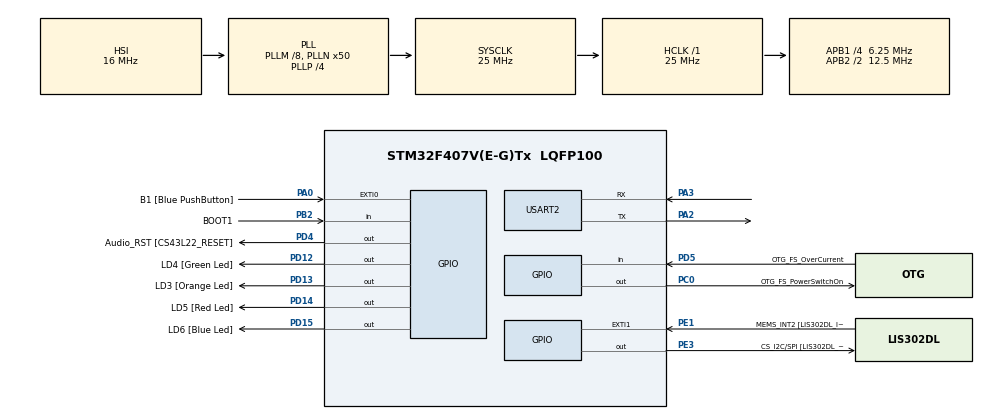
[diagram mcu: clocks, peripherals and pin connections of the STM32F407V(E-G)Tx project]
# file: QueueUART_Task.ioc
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Mcu.Family=STM32F4
Mcu.Name=STM32F407V(E-G)Tx
Mcu.Package=LQFP100
NVIC.PriorityGroup=NVIC_PRIORITYGROUP_4
NVIC.TIM6_DAC_IRQn=true\:0\:0\:false\:false\:true\:false\:true\:true
NVIC.TimeBase=TIM6_DAC_IRQn
NVIC.TimeBaseIP=TIM6
NVIC.USART2_IRQn=true\:6\:0\:true\:false\:true\:true\:true\:true
PA0-WKUP.GPIO_Label=B1 [Blue PushButton]
PA0-WKUP.Signal=GPXTI0
PA10.GPIO_Label=OTG_FS_ID
PA10.GPIO_Mode=GPIO_MODE_AF_PP
PA10.GPIO_PuPd=GPIO_NOPULL
PA10.GPIO_Speed=GPIO_SPEED_FREQ_LOW
PA10.Signal=USB_OTG_FS_ID
PA11.GPIO_Label=OTG_FS_DM
PA11.GPIO_Mode=GPIO_MODE_AF_PP
PA11.GPIO_PuPd=GPIO_NOPULL
PA11.GPIO_Speed=GPIO_SPEED_FREQ_LOW
PA11.Signal=USB_OTG_FS_DM
PA12.GPIO_Label=OTG_FS_DP
PA12.GPIO_Mode=GPIO_MODE_AF_PP
PA12.GPIO_PuPd=GPIO_NOPULL
PA12.GPIO_Speed=GPIO_SPEED_FREQ_LOW
PA12.Signal=USB_OTG_FS_DP
PA13.GPIO_Label=SWDIO
PA13.Signal=SYS_JTMS-SWDIO
PA14.GPIO_Label=SWCLK
PA14.Signal=SYS_JTCK-SWCLK
PA2.Mode=Asynchronous
PA2.Signal=USART2_TX
PA3.Mode=Asynchronous
PA3.Signal=USART2_RX
PA4.GPIO_Label=I2S3_WS [CS43L22_LRCK]
PA4.GPIO_Mode=GPIO_MODE_AF_PP
PA4.GPIO_PuPd=GPIO_NOPULL
PA4.GPIO_Speed=GPIO_SPEED_FREQ_LOW
PA4.Signal=I2S3_WS
PA5.GPIO_Label=SPI1_SCK [LIS302DL_SCL/SPC]
PA5.GPIO_Mode=GPIO_MODE_AF_PP
PA5.GPIO_PuPd=GPIO_NOPULL
PA5.GPIO_Speed=GPIO_SPEED_FREQ_LOW
PA5.Signal=SPI1_SCK
PA6.GPIO_Label=SPI1_MISO [LIS302DL_SDO]
PA6.GPIO_Mode=GPIO_MODE_AF_PP
PA6.GPIO_PuPd=GPIO_NOPULL
PA6.GPIO_Speed=GPIO_SPEED_FREQ_LOW
PA6.Signal=SPI1_MISO
PA7.GPIO_Label=SPI1_MOSI [LIS302DL_SDA/SDI/SDO]
PA7.GPIO_Mode=GPIO_MODE_AF_PP
PA7.GPIO_PuPd=GPIO_NOPULL
PA7.GPIO_Speed=GPIO_SPEED_FREQ_LOW
PA7.Signal=SPI1_MOSI
PA9.GPIO_Label=VBUS_FS
PA9.GPIO_Mode=GPIO_MODE_INPUT
PA9.GPIO_PuPd=GPIO_NOPULL
PA9.Signal=USB_OTG_FS_VBUS
PB10.GPIO_Label=CLK_IN [MP45DT02_CLK]
PB10.GPIO_Mode=GPIO_MODE_AF_PP
PB10.GPIO_PuPd=GPIO_NOPULL
PB10.GPIO_Speed=GPIO_SPEED_FREQ_LOW
PB10.Signal=I2S2_CK
PB2.GPIO_Label=BOOT1
PB2.GPIO_Mode=GPIO_MODE_INPUT
PB2.GPIO_PuPd=GPIO_NOPULL
PB2.Signal=GPIO_Input
PB3.GPIO_Label=SWO
PB3.Signal=SYS_JTDO-SWO
PB6.GPIO_Label=Audio_SCL [CS43L22_SCL]
PB6.GPIO_Mode=GPIO_MODE_AF_OD
PB6.GPIO_PuPd=GPIO_NOPULL
PB6.GPIO_Speed=GPIO_SPEED_FREQ_LOW
PB6.Signal=I2C1_SCL
PB9.GPIO_Label=Audio_SDA [CS43L22_SDA]
PB9.GPIO_Mode=GPIO_MODE_AF_OD
PB9.GPIO_PuPd=GPIO_NOPULL
PB9.GPIO_Speed=GPIO_SPEED_FREQ_LOW
PB9.Signal=I2C1_SDA
PC0.GPIO_Label=OTG_FS_PowerSwitchOn
PC0.GPIO_PuPd=GPIO_NOPULL
PC0.GPIO_Speed=GPIO_SPEED_FREQ_LOW
PC0.PinState=GPIO_PIN_SET
PC0.Signal=GPIO_Output
PC10.GPIO_Label=I2S3_SCK [CS43L22_SCLK]
PC10.GPIO_Mode=GPIO_MODE_AF_PP
PC10.GPIO_PuPd=GPIO_NOPULL
PC10.GPIO_Speed=GPIO_SPEED_FREQ_LOW
PC10.Signal=I2S3_CK
PC12.GPIO_Label=I2S3_SD [CS43L22_SDIN]
PC12.GPIO_Mode=GPIO_MODE_AF_PP
PC12.GPIO_PuPd=GPIO_NOPULL
PC12.GPIO_Speed=GPIO_SPEED_FREQ_LOW
PC12.Signal=I2S3_SD
PC14-OSC32_IN.GPIO_Label=PC14-OSC32_IN
PC14-OSC32_IN.Signal=RCC_OSC32_IN
PC15-OSC32_OUT.GPIO_Label=PC15-OSC32_OUT
PC15-OSC32_OUT.Signal=RCC_OSC32_OUT
PC3.GPIO_Label=PDM_OUT [MP45DT02_DOUT]
PC3.GPIO_Mode=GPIO_MODE_AF_PP
PC3.GPIO_PuPd=GPIO_NOPULL
PC3.GPIO_Speed=GPIO_SPEED_FREQ_LOW
PC3.Signal=I2S2_SD
PC7.GPIO_Label=I2S3_MCK [CS43L22_MCLK]
PC7.GPIO_Mode=GPIO_MODE_AF_PP
PC7.GPIO_PuPd=GPIO_NOPULL
PC7.GPIO_Speed=GPIO_SPEED_FREQ_LOW
PC7.Signal=I2S3_MCK
PD12.GPIO_Label=LD4 [Green Led]
PD12.GPIO_PuPd=GPIO_NOPULL
PD12.GPIO_Speed=GPIO_SPEED_FREQ_LOW
PD12.Signal=GPIO_Output
PD13.GPIO_Label=LD3 [Orange Led]
PD13.GPIO_PuPd=GPIO_NOPULL
PD13.GPIO_Speed=GPIO_SPEED_FREQ_LOW
PD13.Signal=GPIO_Output
PD14.GPIO_Label=LD5 [Red Led]
PD14.GPIO_PuPd=GPIO_NOPULL
PD14.GPIO_Speed=GPIO_SPEED_FREQ_LOW
PD14.Signal=GPIO_Output
PD15.GPIO_Label=LD6 [Blue Led]
PD15.GPIO_PuPd=GPIO_NOPULL
PD15.GPIO_Speed=GPIO_SPEED_FREQ_LOW
PD15.Signal=GPIO_Output
PD4.GPIO_Label=Audio_RST [CS43L22_RESET]
PD4.GPIO_PuPd=GPIO_NOPULL
PD4.GPIO_Speed=GPIO_SPEED_FREQ_LOW
PD4.Signal=GPIO_Output
PD5.GPIO_Label=OTG_FS_OverCurrent
PD5.GPIO_Mode=GPIO_MODE_INPUT
PD5.GPIO_PuPd=GPIO_NOPULL
PD5.Signal=GPIO_Input
PE1.GPIO_Label=MEMS_INT2 [LIS302DL_INT2]
PE1.GPIO_ModeDefaultEXTI=GPIO_MODE_EVT_RISING
PE1.GPIO_PuPd=GPIO_NOPULL
PE1.Signal=GPXTI1
PE3.GPIO_Label=CS_I2C/SPI [LIS302DL_CS_I2C/SPI]
PE3.GPIO_PuPd=GPIO_NOPULL
PE3.GPIO_Speed=GPIO_SPEED_FREQ_LOW
PE3.Signal=GPIO_Output
PH0-OSC_IN.GPIO_Label=PH0-OSC_IN
PH0-OSC_IN.Signal=RCC_OSC_IN
PH1-OSC_OUT.GPIO_Label=PH1-OSC_OUT
PH1-OSC_OUT.Signal=RCC_OSC_OUT
ProjectManager.HeapSize=0x200
ProjectManager.StackSize=0x400
ProjectManager.TargetToolchain=STM32CubeIDE
RCC.48MHZClocksFreq_Value=14285714.285714285
RCC.AHBFreq_Value=25000000
RCC.APB1CLKDivider=RCC_HCLK_DIV4
RCC.APB1Freq_Value=6250000
RCC.APB1TimFreq_Value=12500000
RCC.APB2CLKDivider=RCC_HCLK_DIV2
RCC.APB2Freq_Value=12500000
RCC.APB2TimFreq_Value=25000000
RCC.CortexFreq_Value=25000000
RCC.HCLKFreq_Value=25000000
RCC.HSE_VALUE=8000000
RCC.HSI_VALUE=16000000
RCC.LSE_VALUE=32768
RCC.PLLM=8
RCC.PLLN=50
RCC.PLLP=RCC_PLLP_DIV4
RCC.PLLQ=7
RCC.SYSCLKFreq_VALUE=25000000
RCC.SYSCLKSource=RCC_SYSCLKSOURCE_PLLCLK
RCC.VCOOutputFreq_Value=100000000
RTC.HourFormat=RTC_HOURFORMAT_12
USART2.VirtualMode=VM_ASYNC
VP_RTC_VS_RTC_Activate.Mode=RTC_Enabled
VP_SYS_VS_tim6.Mode=TIM6
board=STM32F407G-DISC1

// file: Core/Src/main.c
/* USER CODE BEGIN Header */
/**
  ******************************************************************************
  * @file           : main.c
  * @brief          : Main program body
  ******************************************************************************
  * @attention
  *
  * Copyright (c) 2026 STMicroelectronics.
  * All rights reserved.
  *
  * This software is licensed under terms that can be found in the LICENSE file
  * in the root directory of this software component.
  * If no LICENSE file comes with this software, it is provided AS-IS.
  *
  ******************************************************************************
  */
/* USER CODE END Header */
#include "main.h"

/* USER CODE BEGIN Includes */
#include "FreeRTOS.h"
#include "task.h"
#include <stdio.h>
/* USER CODE END Includes */

/* USER CODE BEGIN PD */
#define DWT_CTRL (*(volatile uint32_t*)0xE0001000)
/* USER CODE END PD */

RTC_HandleTypeDef hrtc;

UART_HandleTypeDef huart2;

/* USER CODE BEGIN PV */
xTaskHandle handle_menu_task;
xTaskHandle handle_cmd_task;
xTaskHandle handle_print_task;
xTaskHandle handle_led_task;
xTaskHandle handle_rtc_task;

//Software timers handles
TimerHandle_t handle_led_timer[4];
RTC_HandleTypeDef hrtc;

QueueHandle_t queue_data;
QueueHandle_t queue_print;
state_t current_state = sMainMenu;
volatile uint8_t user_data;
/* USER CODE END PV */

void SystemClock_Config(void);
static void MX_GPIO_Init(void);
static void MX_RTC_Init(void);
static void MX_USART2_UART_Init(void);

int main(void)
{

  /* USER CODE BEGIN 1 */
  BaseType_t status;
  /* USER CODE END 1 */

  /* MCU Configuration--------------------------------------------------------*/

  /* Reset of all peripherals, Initializes the Flash interface and the Systick. */
  HAL_Init();

  /* Configure the system clock */
  SystemClock_Config();

  /* Initialize all configured peripherals */
  MX_GPIO_Init();
  MX_RTC_Init();
  MX_USART2_UART_Init();
  /* USER CODE BEGIN 2 */

  DWT_CTRL |= (1 << 0);

  status = xTaskCreate(menu_task, "menu", 250, NULL, 2, &handle_menu_task);
  configASSERT(status == pdPASS);

  status = xTaskCreate(cmd_handler_task, "cmd", 250, NULL, 2, &handle_cmd_task);
  configASSERT(status == pdPASS);

  status = xTaskCreate(print_task, "print", 250, NULL, 2, &handle_print_task);
  configASSERT(status == pdPASS);

  status = xTaskCreate(led_task, "led", 250, NULL, 2, &handle_led_task);
  configASSERT(status == pdPASS);

  status = xTaskCreate(rtc_task, "rtc", 250, NULL, 2, &handle_rtc_task);
  configASSERT(status == pdPASS);

  //Create the Queue; Here the queue handle should not be NULL if it's null that means no queue is created.
  queue_data = xQueueCreate( 10,sizeof(char));
  configASSERT( queue_data != NULL);
  //size_t is the size of pointer because we pass pointer to the queue in print queue. size_t is defined as long unsigned int.
  queue_print = xQueueCreate( 10,sizeof(size_t));
  configASSERT( queue_print != NULL);

  //Create software timer for led effects.
  for(int i = 0; i <4 ; i++)
  {
	  handle_led_timer[i] = xTimerCreate("Timer", pdMS_TO_TICKS(500), pdTRUE, (void *)(i+1), led_effect_callback);
  }

  //Enable or prepares UART receive Interrupt
  HAL_UART_Receive_IT(&huart2, (uint8_t*)&user_data, 1);

  //Start the scheduler
  vTaskStartScheduler();

  /* USER CODE END 2 */

  /* Infinite loop */
  while (1)
  {

  }
}

void SystemClock_Config(void)
{
  RCC_OscInitTypeDef RCC_OscInitStruct = {0};
  RCC_ClkInitTypeDef RCC_ClkInitStruct = {0};

  /** Configure the main internal regulator output voltage
  */
  __HAL_RCC_PWR_CLK_ENABLE();
  __HAL_PWR_VOLTAGESCALING_CONFIG(PWR_REGULATOR_VOLTAGE_SCALE1);

  /** Initializes the RCC Oscillators according to the specified parameters
  * in the RCC_OscInitTypeDef structure.
  */
  RCC_OscInitStruct.OscillatorType = RCC_OSCILLATORTYPE_HSI|RCC_OSCILLATORTYPE_LSI;
  RCC_OscInitStruct.HSIState = RCC_HSI_ON;
  RCC_OscInitStruct.HSICalibrationValue = RCC_HSICALIBRATION_DEFAULT;
  RCC_OscInitStruct.LSIState = RCC_LSI_ON;
  RCC_OscInitStruct.PLL.PLLState = RCC_PLL_ON;
  RCC_OscInitStruct.PLL.PLLSource = RCC_PLLSOURCE_HSI;
  RCC_OscInitStruct.PLL.PLLM = 8;
  RCC_OscInitStruct.PLL.PLLN = 50;
  RCC_OscInitStruct.PLL.PLLP = RCC_PLLP_DIV4;
  RCC_OscInitStruct.PLL.PLLQ = 7;
  if (HAL_RCC_OscConfig(&RCC_OscInitStruct) != HAL_OK)
  {
    Error_Handler();
  }

  /** Initializes the CPU, AHB and APB buses clocks
  */
  RCC_ClkInitStruct.ClockType = RCC_CLOCKTYPE_HCLK|RCC_CLOCKTYPE_SYSCLK
                              |RCC_CLOCKTYPE_PCLK1|RCC_CLOCKTYPE_PCLK2;
  RCC_ClkInitStruct.SYSCLKSource = RCC_SYSCLKSOURCE_PLLCLK;
  RCC_ClkInitStruct.AHBCLKDivider = RCC_SYSCLK_DIV1;
  RCC_ClkInitStruct.APB1CLKDivider = RCC_HCLK_DIV4;
  RCC_ClkInitStruct.APB2CLKDivider = RCC_HCLK_DIV2;

  if (HAL_RCC_ClockConfig(&RCC_ClkInitStruct, FLASH_LATENCY_0) != HAL_OK)
  {
    Error_Handler();
  }
}

static void MX_RTC_Init(void)
{

  /** Initialize RTC Only
  */
  hrtc.Instance = RTC;
  hrtc.Init.HourFormat = RTC_HOURFORMAT_12;
  hrtc.Init.AsynchPrediv = 127;
  hrtc.Init.SynchPrediv = 255;
  hrtc.Init.OutPut = RTC_OUTPUT_DISABLE;
  hrtc.Init.OutPutPolarity = RTC_OUTPUT_POLARITY_HIGH;
  hrtc.Init.OutPutType = RTC_OUTPUT_TYPE_OPENDRAIN;
  if (HAL_RTC_Init(&hrtc) != HAL_OK)
  {
    Error_Handler();
  }

}

static void MX_USART2_UART_Init(void)
{

  huart2.Instance = USART2;
  huart2.Init.BaudRate = 115200;
  huart2.Init.WordLength = UART_WORDLENGTH_8B;
  huart2.Init.StopBits = UART_STOPBITS_1;
  huart2.Init.Parity = UART_PARITY_NONE;
  huart2.Init.Mode = UART_MODE_TX_RX;
  huart2.Init.HwFlowCtl = UART_HWCONTROL_NONE;
  huart2.Init.OverSampling = UART_OVERSAMPLING_16;
  if (HAL_UART_Init(&huart2) != HAL_OK)
  {
    Error_Handler();
  }

}

static void MX_GPIO_Init(void)
{
  GPIO_InitTypeDef GPIO_InitStruct = {0};

  /* GPIO Ports Clock Enable */
  __HAL_RCC_GPIOE_CLK_ENABLE();
  __HAL_RCC_GPIOC_CLK_ENABLE();
  __HAL_RCC_GPIOH_CLK_ENABLE();
  __HAL_RCC_GPIOA_CLK_ENABLE();
  __HAL_RCC_GPIOB_CLK_ENABLE();
  __HAL_RCC_GPIOD_CLK_ENABLE();

  /*Configure GPIO pin Output Level */
  HAL_GPIO_WritePin(CS_I2C_SPI_GPIO_Port, CS_I2C_SPI_Pin, GPIO_PIN_RESET);

  /*Configure GPIO pin Output Level */
  HAL_GPIO_WritePin(OTG_FS_PowerSwitchOn_GPIO_Port, OTG_FS_PowerSwitchOn_Pin, GPIO_PIN_SET);

  /*Configure GPIO pin Output Level */
  HAL_GPIO_WritePin(GPIOD, LD4_Pin|LD3_Pin|LD5_Pin|LD6_Pin
                          |Audio_RST_Pin, GPIO_PIN_RESET);

  /*Configure GPIO pin : CS_I2C_SPI_Pin */
  GPIO_InitStruct.Pin = CS_I2C_SPI_Pin;
  GPIO_InitStruct.Mode = GPIO_MODE_OUTPUT_PP;
  GPIO_InitStruct.Pull = GPIO_NOPULL;
  GPIO_InitStruct.Speed = GPIO_SPEED_FREQ_LOW;
  HAL_GPIO_Init(CS_I2C_SPI_GPIO_Port, &GPIO_InitStruct);

  /*Configure GPIO pin : OTG_FS_PowerSwitchOn_Pin */
  GPIO_InitStruct.Pin = OTG_FS_PowerSwitchOn_Pin;
  GPIO_InitStruct.Mode = GPIO_MODE_OUTPUT_PP;
  GPIO_InitStruct.Pull = GPIO_NOPULL;
  GPIO_InitStruct.Speed = GPIO_SPEED_FREQ_LOW;
  HAL_GPIO_Init(OTG_FS_PowerSwitchOn_GPIO_Port, &GPIO_InitStruct);

  /*Configure GPIO pin : PDM_OUT_Pin */
  GPIO_InitStruct.Pin = PDM_OUT_Pin;
  GPIO_InitStruct.Mode = GPIO_MODE_AF_PP;
  GPIO_InitStruct.Pull = GPIO_NOPULL;
  GPIO_InitStruct.Speed = GPIO_SPEED_FREQ_LOW;
  GPIO_InitStruct.Alternate = GPIO_AF5_SPI2;
  HAL_GPIO_Init(PDM_OUT_GPIO_Port, &GPIO_InitStruct);

  /*Configure GPIO pin : B1_Pin */
  GPIO_InitStruct.Pin = B1_Pin;
  GPIO_InitStruct.Mode = GPIO_MODE_IT_RISING;
  GPIO_InitStruct.Pull = GPIO_NOPULL;
  HAL_GPIO_Init(B1_GPIO_Port, &GPIO_InitStruct);

  /*Configure GPIO pin : I2S3_WS_Pin */
  GPIO_InitStruct.Pin = I2S3_WS_Pin;
  GPIO_InitStruct.Mode = GPIO_MODE_AF_PP;
  GPIO_InitStruct.Pull = GPIO_NOPULL;
  GPIO_InitStruct.Speed = GPIO_SPEED_FREQ_LOW;
  GPIO_InitStruct.Alternate = GPIO_AF6_SPI3;
  HAL_GPIO_Init(I2S3_WS_GPIO_Port, &GPIO_InitStruct);

  /*Configure GPIO pins : SPI1_SCK_Pin SPI1_MISO_Pin SPI1_MOSI_Pin */
  GPIO_InitStruct.Pin = SPI1_SCK_Pin|SPI1_MISO_Pin|SPI1_MOSI_Pin;
  GPIO_InitStruct.Mode = GPIO_MODE_AF_PP;
  GPIO_InitStruct.Pull = GPIO_NOPULL;
  GPIO_InitStruct.Speed = GPIO_SPEED_FREQ_LOW;
  GPIO_InitStruct.Alternate = GPIO_AF5_SPI1;
  HAL_GPIO_Init(GPIOA, &GPIO_InitStruct);

  /*Configure GPIO pin : BOOT1_Pin */
  GPIO_InitStruct.Pin = BOOT1_Pin;
  GPIO_InitStruct.Mode = GPIO_MODE_INPUT;
  GPIO_InitStruct.Pull = GPIO_NOPULL;
  HAL_GPIO_Init(BOOT1_GPIO_Port, &GPIO_InitStruct);

  /*Configure GPIO pin : CLK_IN_Pin */
  GPIO_InitStruct.Pin = CLK_IN_Pin;
  GPIO_InitStruct.Mode = GPIO_MODE_AF_PP;
  GPIO_InitStruct.Pull = GPIO_NOPULL;
  GPIO_InitStruct.Speed = GPIO_SPEED_FREQ_LOW;
  GPIO_InitStruct.Alternate = GPIO_AF5_SPI2;
  HAL_GPIO_Init(CLK_IN_GPIO_Port, &GPIO_InitStruct);

  /*Configure GPIO pins : LD4_Pin LD3_Pin LD5_Pin LD6_Pin
                           Audio_RST_Pin */
  GPIO_InitStruct.Pin = LD4_Pin|LD3_Pin|LD5_Pin|LD6_Pin
                          |Audio_RST_Pin;
  GPIO_InitStruct.Mode = GPIO_MODE_OUTPUT_PP;
  GPIO_InitStruct.Pull = GPIO_NOPULL;
  GPIO_InitStruct.Speed = GPIO_SPEED_FREQ_LOW;
  HAL_GPIO_Init(GPIOD, &GPIO_InitStruct);

  /*Configure GPIO pins : I2S3_MCK_Pin I2S3_SCK_Pin I2S3_SD_Pin */
  GPIO_InitStruct.Pin = I2S3_MCK_Pin|I2S3_SCK_Pin|I2S3_SD_Pin;
  GPIO_InitStruct.Mode = GPIO_MODE_AF_PP;
  GPIO_InitStruct.Pull = GPIO_NOPULL;
  GPIO_InitStruct.Speed = GPIO_SPEED_FREQ_LOW;
  GPIO_InitStruct.Alternate = GPIO_AF6_SPI3;
  HAL_GPIO_Init(GPIOC, &GPIO_InitStruct);

  /*Configure GPIO pin : VBUS_FS_Pin */
  GPIO_InitStruct.Pin = VBUS_FS_Pin;
  GPIO_InitStruct.Mode = GPIO_MODE_INPUT;
  GPIO_InitStruct.Pull = GPIO_NOPULL;
  HAL_GPIO_Init(VBUS_FS_GPIO_Port, &GPIO_InitStruct);

  /*Configure GPIO pins : OTG_FS_ID_Pin OTG_FS_DM_Pin OTG_FS_DP_Pin */
  GPIO_InitStruct.Pin = OTG_FS_ID_Pin|OTG_FS_DM_Pin|OTG_FS_DP_Pin;
  GPIO_InitStruct.Mode = GPIO_MODE_AF_PP;
  GPIO_InitStruct.Pull = GPIO_NOPULL;
  GPIO_InitStruct.Speed = GPIO_SPEED_FREQ_LOW;
  GPIO_InitStruct.Alternate = GPIO_AF10_OTG_FS;
  HAL_GPIO_Init(GPIOA, &GPIO_InitStruct);

  /*Configure GPIO pin : OTG_FS_OverCurrent_Pin */
  GPIO_InitStruct.Pin = OTG_FS_OverCurrent_Pin;
  GPIO_InitStruct.Mode = GPIO_MODE_INPUT;
  GPIO_InitStruct.Pull = GPIO_NOPULL;
  HAL_GPIO_Init(OTG_FS_OverCurrent_GPIO_Port, &GPIO_InitStruct);

  /*Configure GPIO pins : Audio_SCL_Pin Audio_SDA_Pin */
  GPIO_InitStruct.Pin = Audio_SCL_Pin|Audio_SDA_Pin;
  GPIO_InitStruct.Mode = GPIO_MODE_AF_OD;
  GPIO_InitStruct.Pull = GPIO_NOPULL;
  GPIO_InitStruct.Speed = GPIO_SPEED_FREQ_LOW;
  GPIO_InitStruct.Alternate = GPIO_AF4_I2C1;
  HAL_GPIO_Init(GPIOB, &GPIO_InitStruct);

  /*Configure GPIO pin : MEMS_INT2_Pin */
  GPIO_InitStruct.Pin = MEMS_INT2_Pin;
  GPIO_InitStruct.Mode = GPIO_MODE_EVT_RISING;
  GPIO_InitStruct.Pull = GPIO_NOPULL;
  HAL_GPIO_Init(MEMS_INT2_GPIO_Port, &GPIO_InitStruct);

}

/* USER CODE BEGIN 4 */
void HAL_UART_RxCpltCallback(UART_HandleTypeDef *huart)
{
	if(! xQueueIsQueueFullFromISR( queue_data ))
	{
		/*Queue is not full */

		/* Enqueue data byte */
        xQueueSendFromISR( queue_data,(void*)&user_data,NULL );

	}else
  {
		/*Queue is full */
    uint8_t dummy_read;
		if(user_data =='\n')
		{
			/*user_data = '\n' */

			/* make sure that last data byte of the queue is '\n' */
			//before we add the data to back of the queue we neee to remove the already present data at the end.A data item form the queue is removed by reading the data from queue using the API xQueueReceive.
			xQueueReceiveFromISR(queue_data,(void*)&dummy_read, NULL);
            xQueueSendToBackFromISR(queue_data,(void*)&user_data,NULL);
		}
	}

	/* send notification to command handling task if user_data = '\n' */
  if(user_data == '\n')
  {
    xTaskNotifyFromISR(handle_cmd_task,0,eNoAction,NULL);
  }

	/*  Enable UART data byte reception again in IT mode */
  //We do the explicit type casting here((void*)&user_data) because in FreeRtos queue operations we do not queue the pointer we, queue the data pointed by pointer
  //hence we type cast it to a generic pointer type as the related api uses a generic type pointer. This means the data could be char,int ,long,etc,any type.
  HAL_UART_Receive_IT(&huart2, (void*)&user_data, 1);

}

/* WHen timer expires based on the timer ID that expires we will call the respective LED effects based functions. The led_effect() function is used to start the timers and stop the previous LED_effects.*/
void led_effect_callback(TimerHandle_t xTimer)
{
	int id;
	id = ( uint32_t ) pvTimerGetTimerID( xTimer );

	switch(id)
	{
	case 1:
		LED_effect1();
		break;
	case 2:
		LED_effect2();
		break;
	case 3:
		LED_effect3();
		break;
	case 4:
		LED_effect4();
		break;
	default:
		break;
	}
}

/* USER CODE END 4 */

void HAL_TIM_PeriodElapsedCallback(TIM_HandleTypeDef *htim)
{
  if (htim->Instance == TIM6)
  {
    HAL_IncTick();
  }
}

void Error_Handler(void)
{
  /* USER CODE BEGIN Error_Handler_Debug */
  /* User can add his own implementation to report the HAL error return state */
  __disable_irq();
  while (1)
  {
	  HAL_GPIO_TogglePin(GPIOD, LED1);
  }
  /* USER CODE END Error_Handler_Debug */
}
